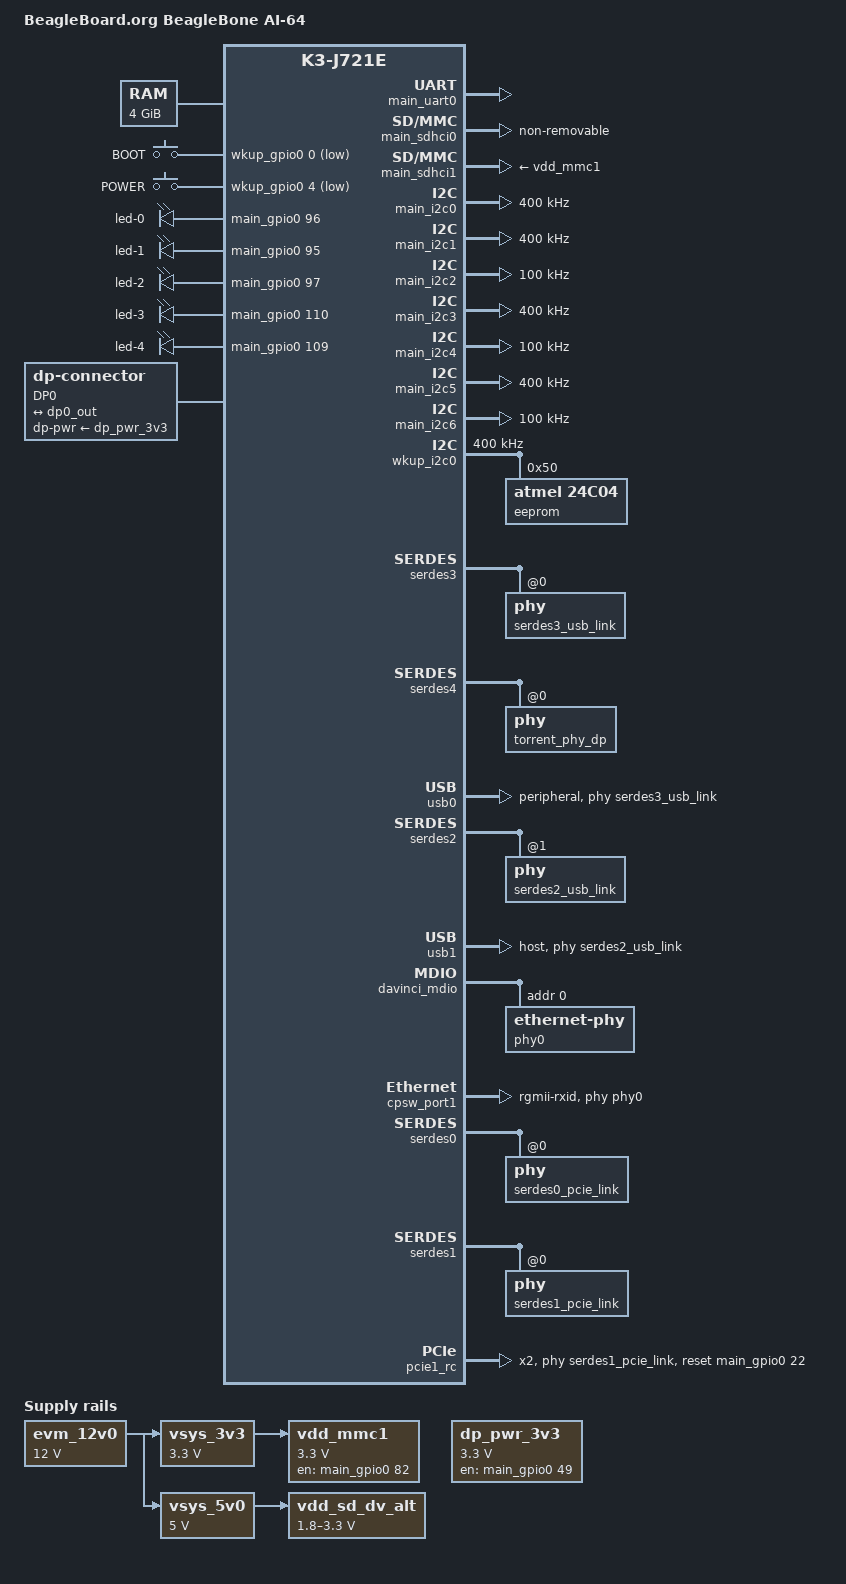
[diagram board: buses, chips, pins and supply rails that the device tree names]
// SPDX-License-Identifier: GPL-2.0
/*
 * https://beagleboard.org/ai-64
 * Copyright (C) 2022 Texas Instruments Incorporated - https://www.ti.com/
 * Copyright (C) 2022 Jason Kridner, BeagleBoard.org Foundation
 * Copyright (C) 2022 Robert Nelson, BeagleBoard.org Foundation
 */

/dts-v1/;

#include "k3-j721e.dtsi"
#include <dt-bindings/gpio/gpio.h>
#include <dt-bindings/input/input.h>
#include <dt-bindings/leds/common.h>
#include <dt-bindings/net/ti-dp83867.h>
#include <dt-bindings/phy/phy-cadence.h>

/ {
	compatible = "beagle,j721e-beagleboneai64", "ti,j721e";
	model = "BeagleBoard.org BeagleBone AI-64";

	aliases {
		serial0 = &wkup_uart0;
		serial2 = &main_uart0;
		mmc0 = &main_sdhci0;
		mmc1 = &main_sdhci1;
		i2c0 = &wkup_i2c0;
		i2c1 = &main_i2c6;
		i2c2 = &main_i2c2;
		i2c3 = &main_i2c4;
	};

	chosen {
		stdout-path = "serial2:115200n8";
	};

	memory@80000000 {
		device_type = "memory";
		/* 4G RAM */
		reg = <0x00000000 0x80000000 0x00000000 0x80000000>,
		      <0x00000008 0x80000000 0x00000000 0x80000000>;
	};

	reserved_memory: reserved-memory {
		#address-cells = <2>;
		#size-cells = <2>;
		ranges;

		secure_ddr: optee@9e800000 {
			reg = <0x00 0x9e800000 0x00 0x01800000>;
			no-map;
		};

		mcu_r5fss0_core0_dma_memory_region: r5f-dma-memory@a0000000 {
			compatible = "shared-dma-pool";
			reg = <0x00 0xa0000000 0x00 0x100000>;
			no-map;
		};

		mcu_r5fss0_core0_memory_region: r5f-memory@a0100000 {
			compatible = "shared-dma-pool";
			reg = <0x00 0xa0100000 0x00 0xf00000>;
			no-map;
		};

		mcu_r5fss0_core1_dma_memory_region: r5f-dma-memory@a1000000 {
			compatible = "shared-dma-pool";
			reg = <0x00 0xa1000000 0x00 0x100000>;
			no-map;
		};

		mcu_r5fss0_core1_memory_region: r5f-memory@a1100000 {
			compatible = "shared-dma-pool";
			reg = <0x00 0xa1100000 0x00 0xf00000>;
			no-map;
		};

		main_r5fss0_core0_dma_memory_region: r5f-dma-memory@a2000000 {
			compatible = "shared-dma-pool";
			reg = <0x00 0xa2000000 0x00 0x100000>;
			no-map;
		};

		main_r5fss0_core0_memory_region: r5f-memory@a2100000 {
			compatible = "shared-dma-pool";
			reg = <0x00 0xa2100000 0x00 0xf00000>;
			no-map;
		};

		main_r5fss0_core1_dma_memory_region: r5f-dma-memory@a3000000 {
			compatible = "shared-dma-pool";
			reg = <0x00 0xa3000000 0x00 0x100000>;
			no-map;
		};

		main_r5fss0_core1_memory_region: r5f-memory@a3100000 {
			compatible = "shared-dma-pool";
			reg = <0x00 0xa3100000 0x00 0xf00000>;
			no-map;
		};

		main_r5fss1_core0_dma_memory_region: r5f-dma-memory@a4000000 {
			compatible = "shared-dma-pool";
			reg = <0x00 0xa4000000 0x00 0x100000>;
			no-map;
		};

		main_r5fss1_core0_memory_region: r5f-memory@a4100000 {
			compatible = "shared-dma-pool";
			reg = <0x00 0xa4100000 0x00 0xf00000>;
			no-map;
		};

		main_r5fss1_core1_dma_memory_region: r5f-dma-memory@a5000000 {
			compatible = "shared-dma-pool";
			reg = <0x00 0xa5000000 0x00 0x100000>;
			no-map;
		};

		main_r5fss1_core1_memory_region: r5f-memory@a5100000 {
			compatible = "shared-dma-pool";
			reg = <0x00 0xa5100000 0x00 0xf00000>;
			no-map;
		};

		c66_1_dma_memory_region: c66-dma-memory@a6000000 {
			compatible = "shared-dma-pool";
			reg = <0x00 0xa6000000 0x00 0x100000>;
			no-map;
		};

		c66_0_memory_region: c66-memory@a6100000 {
			compatible = "shared-dma-pool";
			reg = <0x00 0xa6100000 0x00 0xf00000>;
			no-map;
		};

		c66_0_dma_memory_region: c66-dma-memory@a7000000 {
			compatible = "shared-dma-pool";
			reg = <0x00 0xa7000000 0x00 0x100000>;
			no-map;
		};

		c66_1_memory_region: c66-memory@a7100000 {
			compatible = "shared-dma-pool";
			reg = <0x00 0xa7100000 0x00 0xf00000>;
			no-map;
		};

		c71_0_dma_memory_region: c71-dma-memory@a8000000 {
			compatible = "shared-dma-pool";
			reg = <0x00 0xa8000000 0x00 0x100000>;
			no-map;
		};

		c71_0_memory_region: c71-memory@a8100000 {
			compatible = "shared-dma-pool";
			reg = <0x00 0xa8100000 0x00 0xf00000>;
			no-map;
		};

		rtos_ipc_memory_region: ipc-memories@aa000000 {
			reg = <0x00 0xaa000000 0x00 0x01c00000>;
			alignment = <0x1000>;
			no-map;
		};
	};

	gpio_keys: gpio-keys {
		compatible = "gpio-keys";
		pinctrl-names = "default";
		pinctrl-0 = <&sw_pwr_pins_default>;

		button-1 {
			label = "BOOT";
			linux,code = <BTN_0>;
			gpios = <&wkup_gpio0 0 GPIO_ACTIVE_LOW>;
		};

		button-2 {
			label = "POWER";
			linux,code = <KEY_POWER>;
			gpios = <&wkup_gpio0 4 GPIO_ACTIVE_LOW>;
		};
	};

	leds {
		compatible = "gpio-leds";
		pinctrl-names = "default";
		pinctrl-0 = <&led_pins_default>;

		led-0 {
			gpios = <&main_gpio0 96 GPIO_ACTIVE_HIGH>;
			function = LED_FUNCTION_HEARTBEAT;
			linux,default-trigger = "heartbeat";
		};

		led-1 {
			gpios = <&main_gpio0 95 GPIO_ACTIVE_HIGH>;
			function = LED_FUNCTION_DISK_ACTIVITY;
			linux,default-trigger = "mmc0";
		};

		led-2 {
			gpios = <&main_gpio0 97 GPIO_ACTIVE_HIGH>;
			function = LED_FUNCTION_CPU;
			linux,default-trigger = "cpu";
		};

		led-3 {
			gpios = <&main_gpio0 110 GPIO_ACTIVE_HIGH>;
			function = LED_FUNCTION_DISK_ACTIVITY;
			linux,default-trigger = "mmc1";
		};

		led-4 {
			gpios = <&main_gpio0 109 GPIO_ACTIVE_HIGH>;
			function = LED_FUNCTION_WLAN;
			default-state = "off";
		};
	};

	evm_12v0: regulator-0 {
		/* main supply */
		compatible = "regulator-fixed";
		regulator-name = "evm_12v0";
		regulator-min-microvolt = <12000000>;
		regulator-max-microvolt = <12000000>;
		regulator-always-on;
		regulator-boot-on;
	};

	vsys_3v3: regulator-1 {
		/* Output of LMS140 */
		compatible = "regulator-fixed";
		regulator-name = "vsys_3v3";
		regulator-min-microvolt = <3300000>;
		regulator-max-microvolt = <3300000>;
		vin-supply = <&evm_12v0>;
		regulator-always-on;
		regulator-boot-on;
	};

	vsys_5v0: regulator-2 {
		/* Output of LM5140 */
		compatible = "regulator-fixed";
		regulator-name = "vsys_5v0";
		regulator-min-microvolt = <5000000>;
		regulator-max-microvolt = <5000000>;
		vin-supply = <&evm_12v0>;
		regulator-always-on;
		regulator-boot-on;
	};

	vdd_mmc1: regulator-3 {
		compatible = "regulator-fixed";
		pinctrl-names = "default";
		pinctrl-0 = <&sd_pwr_en_pins_default>;
		regulator-name = "vdd_mmc1";
		regulator-min-microvolt = <3300000>;
		regulator-max-microvolt = <3300000>;
		regulator-boot-on;
		enable-active-high;
		vin-supply = <&vsys_3v3>;
		gpio = <&main_gpio0 82 GPIO_ACTIVE_HIGH>;
	};

	vdd_sd_dv_alt: regulator-4 {
		compatible = "regulator-gpio";
		pinctrl-names = "default";
		pinctrl-0 = <&vdd_sd_dv_alt_pins_default>;
		regulator-name = "tlv71033";
		regulator-min-microvolt = <1800000>;
		regulator-max-microvolt = <3300000>;
		regulator-boot-on;
		vin-supply = <&vsys_5v0>;
		gpios = <&main_gpio0 117 GPIO_ACTIVE_HIGH>;
		states = <1800000 0x0>,
			 <3300000 0x1>;
	};

	dp_pwr_3v3: regulator-5 {
		compatible = "regulator-fixed";
		pinctrl-names = "default";
		pinctrl-0 = <&dp0_3v3_en_pins_default>;
		regulator-name = "dp-pwr";
		regulator-min-microvolt = <3300000>;
		regulator-max-microvolt = <3300000>;
		gpio = <&main_gpio0 49 GPIO_ACTIVE_HIGH>; /* DP0_PWR_SW_EN */
		enable-active-high;
	};

	dp0: connector {
		compatible = "dp-connector";
		label = "DP0";
		type = "full-size";
		dp-pwr-supply = <&dp_pwr_3v3>;

		port {
			dp_connector_in: endpoint {
				remote-endpoint = <&dp0_out>;
			};
		};
	};
};

&main_pmx0 {
	led_pins_default: led-default-pins {
		pinctrl-single,pins = <
			J721E_IOPAD(0x184, PIN_INPUT, 7) /* (T23) RGMII5_RD0.GPIO0_96 */
			J721E_IOPAD(0x180, PIN_INPUT, 7) /* (R23) RGMII5_RD1.GPIO0_95 */
			J721E_IOPAD(0x188, PIN_INPUT, 7) /* (Y28) RGMII6_TX_CTL.GPIO0_97 */
			J721E_IOPAD(0x1bc, PIN_INPUT, 7) /* (V24) MDIO0_MDC.GPIO0_110 */
			J721E_IOPAD(0x1b8, PIN_INPUT, 7) /* (V26) MDIO0_MDIO.GPIO0_109 */
		>;
	};

	main_mmc1_pins_default: main-mmc1-default-pins {
		pinctrl-single,pins = <
			J721E_IOPAD(0x254, PIN_INPUT, 0) /* (R29) MMC1_CMD */
			J721E_IOPAD(0x250, PIN_INPUT, 0) /* (P25) MMC1_CLK */
			J721E_IOPAD(0x2ac, PIN_INPUT, 0) /* (P25) MMC1_CLKLB */
			J721E_IOPAD(0x24c, PIN_INPUT, 0) /* (R24) MMC1_DAT0 */
			J721E_IOPAD(0x248, PIN_INPUT, 0) /* (P24) MMC1_DAT1 */
			J721E_IOPAD(0x244, PIN_INPUT, 0) /* (R25) MMC1_DAT2 */
			J721E_IOPAD(0x240, PIN_INPUT, 0) /* (R26) MMC1_DAT3 */
			J721E_IOPAD(0x258, PIN_INPUT, 0) /* (P23) MMC1_SDCD */
		>;
	};

	main_uart0_pins_default: main-uart0-default-pins {
		pinctrl-single,pins = <
			J721E_IOPAD(0x1e8, PIN_INPUT, 0) /* (AB2) UART0_RXD */
			J721E_IOPAD(0x1ec, PIN_OUTPUT, 0) /* (AB3) UART0_TXD */
		>;
	};

	sd_pwr_en_pins_default: sd-pwr-en-default-pins {
		pinctrl-single,pins = <
			J721E_IOPAD(0x14c, PIN_INPUT, 7) /* (AA29) PRG0_PRU1_GPO19.GPIO0_82 */
		>;
	};

	vdd_sd_dv_alt_pins_default: vdd-sd-dv-alt-default-pins {
		pinctrl-single,pins = <
			J721E_IOPAD(0x1d8, PIN_INPUT, 7) /* (W4) SPI1_CS1.GPIO0_117 */
		>;
	};

	main_usbss0_pins_default: main-usbss0-default-pins {
		pinctrl-single,pins = <
			J721E_IOPAD(0x210, PIN_INPUT, 7) /* (W3) MCAN1_RX.GPIO1_3 - USBC_DIR */
		>;
	};

	main_usbss1_pins_default: main-usbss1-default-pins {
		pinctrl-single,pins = <
			J721E_IOPAD(0x290, INPUT_DISABLE, 1) /* (U6) USB0_DRVVBUS.USB1_DRVVBUS */
		>;
	};

	dp0_3v3_en_pins_default:dp0-3v3-en-default-pins {
		pinctrl-single,pins = <
			J721E_IOPAD(0xc8, PIN_INPUT, 7) /* (AE26) PRG0_PRU0_GPO6.GPIO0_49 */
		>;
	};

	dp0_pins_default: dp0-default-pins {
		pinctrl-single,pins = <
			J721E_IOPAD(0x1c4, PIN_INPUT, 5) /* (Y4) SPI0_CS1.DP0_HPD */
		>;
	};

	main_i2c0_pins_default: main-i2c0-default-pins {
		pinctrl-single,pins = <
			J721E_IOPAD(0x220, PIN_INPUT_PULLUP, 0) /* (AC5) I2C0_SCL */
			J721E_IOPAD(0x224, PIN_INPUT_PULLUP, 0) /* (AA5) I2C0_SDA */
		>;
	};

	main_i2c1_pins_default: main-i2c1-default-pins {
		pinctrl-single,pins = <
			J721E_IOPAD(0x228, PIN_INPUT_PULLUP, 0) /* (Y6) I2C1_SCL */
			J721E_IOPAD(0x22c, PIN_INPUT_PULLUP, 0) /* (AA6) I2C1_SDA */
		>;
	};

	main_i2c2_pins_default: main-i2c2-default-pins {
		pinctrl-single,pins = <
			J721E_IOPAD(0x208, PIN_INPUT_PULLUP, 4) /* (W5) MCAN0_RX.I2C2_SCL */
			J721E_IOPAD(0x20c, PIN_INPUT_PULLUP, 4) /* (W6) MCAN0_TX.I2C2_SDA */
			J721E_IOPAD(0x138, PIN_INPUT, 7) /* (AE25) PRG0_PRU1_GPO14.GPIO0_77 */
			J721E_IOPAD(0x13c, PIN_INPUT, 7) /* (AF29) PRG0_PRU1_GPO15.GPIO0_78 */
		>;
	};

	main_i2c3_pins_default: main-i2c3-default-pins {
		pinctrl-single,pins = <
			J721E_IOPAD(0x270, PIN_INPUT_PULLUP, 4) /* (T26) MMC2_CLK.I2C3_SCL */
			J721E_IOPAD(0x274, PIN_INPUT_PULLUP, 4) /* (T25) MMC2_CMD.I2C3_SDA */
		>;
	};

	main_i2c4_pins_default: main-i2c4-default-pins {
		pinctrl-single,pins = <
			J721E_IOPAD(0x1e0, PIN_INPUT_PULLUP, 2) /* (Y5) SPI1_D0.I2C4_SCL */
			J721E_IOPAD(0x1dc, PIN_INPUT_PULLUP, 2) /* (Y1) SPI1_CLK.I2C4_SDA */
			J721E_IOPAD(0x30, PIN_INPUT, 7) /* (AF24) PRG1_PRU0_GPO11.GPIO0_12 */
			J721E_IOPAD(0x34, PIN_INPUT, 7) /* (AJ24) PRG1_PRU0_GPO12.GPIO0_13 */
		>;
	};

	main_i2c5_pins_default: main-i2c5-default-pins {
		pinctrl-single,pins = <
			J721E_IOPAD(0x150, PIN_INPUT_PULLUP, 2) /* (Y26) PRG0_MDIO0_MDIO.I2C5_SCL */
			J721E_IOPAD(0x154, PIN_INPUT_PULLUP, 2) /* (AA27) PRG0_MDIO0_MDC.I2C5_SDA */
		>;
	};

	main_i2c6_pins_default: main-i2c6-default-pins {
		pinctrl-single,pins = <
			J721E_IOPAD(0x1d0, PIN_INPUT_PULLUP, 2) /* (AA3) SPI0_D1.I2C6_SCL */
			J721E_IOPAD(0x1e4, PIN_INPUT_PULLUP, 2) /* (Y2) SPI1_D1.I2C6_SDA */
			J721E_IOPAD(0x74, PIN_INPUT, 7) /* (AC21) PRG1_PRU1_GPO7.GPIO0_28 */
			J721E_IOPAD(0xa4, PIN_INPUT, 7) /* (AH22) PRG1_PRU1_GPO19.GPIO0_40 */
		>;
	};

	csi0_gpio_pins_default: csi0-gpio-default-pins {
		pinctrl-single,pins = <
			J721E_IOPAD(0x19c, PIN_INPUT_PULLDOWN, 7) /* (W27) RGMII6_TD0.GPIO0_102 */
			J721E_IOPAD(0x1a0, PIN_INPUT_PULLDOWN, 7) /* (W29) RGMII6_TXC.GPIO0_103 */
		>;
	};

	csi1_gpio_pins_default: csi1-gpio-default-pins {
		pinctrl-single,pins = <
			J721E_IOPAD(0x198, PIN_INPUT_PULLDOWN, 7) /* (V25) RGMII6_TD1.GPIO0_101 */
			J721E_IOPAD(0x1b0, PIN_INPUT_PULLDOWN, 7) /* (W24) RGMII6_RD1.GPIO0_107 */
		>;
	};

	pcie1_rst_pins_default: pcie1-rst-default-pins {
		pinctrl-single,pins = <
			J721E_IOPAD(0x5c, PIN_INPUT, 7) /* (AG23) PRG1_PRU1_GPO1.GPIO0_22 */
		>;
	};
};

&wkup_pmx0 {
	eeprom_wp_pins_default: eeprom-wp-default-pins {
		pinctrl-single,pins = <
			J721E_WKUP_IOPAD(0xc4, PIN_OUTPUT_PULLUP, 7) /* (G24) WKUP_GPIO0_5 */
		>;
	};

	mcu_adc0_pins_default: mcu-adc0-default-pins {
		pinctrl-single,pins = <
			J721E_WKUP_IOPAD(0x130, PIN_INPUT, 0) /* (K25) MCU_ADC0_AIN0 */
			J721E_WKUP_IOPAD(0x134, PIN_INPUT, 0) /* (K26) MCU_ADC0_AIN1 */
			J721E_WKUP_IOPAD(0x138, PIN_INPUT, 0) /* (K28) MCU_ADC0_AIN2 */
			J721E_WKUP_IOPAD(0x13c, PIN_INPUT, 0) /* (L28) MCU_ADC0_AIN3 */
			J721E_WKUP_IOPAD(0x140, PIN_INPUT, 0) /* (K24) MCU_ADC0_AIN4 */
			J721E_WKUP_IOPAD(0x144, PIN_INPUT, 0) /* (K27) MCU_ADC0_AIN5 */
			J721E_WKUP_IOPAD(0x148, PIN_INPUT, 0) /* (K29) MCU_ADC0_AIN6 */
		>;
	};

	mcu_adc1_pins_default: mcu-adc1-default-pins {
		pinctrl-single,pins = <
			J721E_WKUP_IOPAD(0x150, PIN_INPUT, 0) /* (N23) MCU_ADC1_AIN0 */
		>;
	};

	mikro_bus_pins_default: mikro-bus-default-pins {
		pinctrl-single,pins = <
			J721E_WKUP_IOPAD(0x108, PIN_INPUT, 7) /* SDAPULLEN (E26) PMIC_POWER_EN0.WKUP_GPIO0_66 */
			J721E_WKUP_IOPAD(0xd4, PIN_INPUT, 7) /* SDA (G26) WKUP_GPIO0_9.MCU_I2C1_SDA */
			J721E_WKUP_IOPAD(0xf4, PIN_INPUT, 7) /* SDA (D25) MCU_I3C0_SDA.WKUP_GPIO0_61 */
			J721E_WKUP_IOPAD(0xd0, PIN_INPUT, 7) /* SCL (G27) WKUP_GPIO0_8.MCU_I2C1_SCL */
			J721E_WKUP_IOPAD(0xf0, PIN_INPUT, 7) /* SCL (D26) MCU_I3C0_SCL.WKUP_GPIO0_60 */

			J721E_WKUP_IOPAD(0xb8, PIN_INPUT, 7) /* MOSI (F28) WKUP_GPIO0_2.MCU_SPI1_D1 */
			J721E_WKUP_IOPAD(0xb4, PIN_INPUT, 7) /* MISO (F25) WKUP_GPIO0_1.MCU_SPI1_D0 */
			J721E_WKUP_IOPAD(0xb0, PIN_INPUT, 7) /* CLK (F26) WKUP_GPIO0_0.MCU_SPI1_CLK */
			J721E_WKUP_IOPAD(0xbc, PIN_INPUT, 7) /* CS (F27) WKUP_GPIO0_3.MCU_SPI1_CS0 */

			J721E_WKUP_IOPAD(0x44, PIN_INPUT, 7) /* RX (G22) MCU_OSPI1_D1.WKUP_GPIO0_33 */
			J721E_WKUP_IOPAD(0x48, PIN_INPUT, 7) /* TX (D23) MCU_OSPI1_D2.WKUP_GPIO0_34 */

			J721E_WKUP_IOPAD(0x4c, PIN_INPUT, 7) /* INT (C23) MCU_OSPI1_D3.WKUP_GPIO0_35 */
			J721E_WKUP_IOPAD(0x54, PIN_INPUT, 7) /* RST (E22) MCU_OSPI1_CSn1.WKUP_GPIO0_37 */
			J721E_WKUP_IOPAD(0xdc, PIN_INPUT, 7) /* PWM (H27) WKUP_GPIO0_11 */
			J721E_WKUP_IOPAD(0xac, PIN_INPUT, 7) /* AN (C29) MCU_MCAN0_RX.WKUP_GPIO0_59 */
		>;
	};

	mcu_cpsw_pins_default: mcu-cpsw-default-pins {
		pinctrl-single,pins = <
			J721E_WKUP_IOPAD(0x84, PIN_INPUT, 0) /* (B24) MCU_RGMII1_RD0 */
			J721E_WKUP_IOPAD(0x80, PIN_INPUT, 0) /* (A24) MCU_RGMII1_RD1 */
			J721E_WKUP_IOPAD(0x7c, PIN_INPUT, 0) /* (D24) MCU_RGMII1_RD2 */
			J721E_WKUP_IOPAD(0x78, PIN_INPUT, 0) /* (A25) MCU_RGMII1_RD3 */
			J721E_WKUP_IOPAD(0x74, PIN_INPUT, 0) /* (C24) MCU_RGMII1_RXC */
			J721E_WKUP_IOPAD(0x5c, PIN_INPUT, 0) /* (C25) MCU_RGMII1_RX_CTL */
			J721E_WKUP_IOPAD(0x6c, PIN_OUTPUT, 0) /* (B25) MCU_RGMII1_TD0 */
			J721E_WKUP_IOPAD(0x68, PIN_OUTPUT, 0) /* (A26) MCU_RGMII1_TD1 */
			J721E_WKUP_IOPAD(0x64, PIN_OUTPUT, 0) /* (A27) MCU_RGMII1_TD2 */
			J721E_WKUP_IOPAD(0x60, PIN_OUTPUT, 0) /* (A28) MCU_RGMII1_TD3 */
			J721E_WKUP_IOPAD(0x70, PIN_OUTPUT, 0) /* (B26) MCU_RGMII1_TXC */
			J721E_WKUP_IOPAD(0x58, PIN_OUTPUT, 0) /* (B27) MCU_RGMII1_TX_CTL */
		>;
	};

	mcu_mdio_pins_default: mcu-mdio1-default-pins {
		pinctrl-single,pins = <
			J721E_WKUP_IOPAD(0x8c, PIN_OUTPUT, 0) /* (F23) MCU_MDIO0_MDC */
			J721E_WKUP_IOPAD(0x88, PIN_INPUT, 0) /* (E23) MCU_MDIO0_MDIO */
		>;
	};

	sw_pwr_pins_default: sw-pwr-default-pins {
		pinctrl-single,pins = <
			J721E_WKUP_IOPAD(0xc0, PIN_INPUT, 7) /* (G25) WKUP_GPIO0_4 */
		>;
	};

	wkup_i2c0_pins_default: wkup-i2c0-default-pins {
		pinctrl-single,pins = <
			J721E_WKUP_IOPAD(0xf8, PIN_INPUT_PULLUP, 0) /* (J25) WKUP_I2C0_SCL */
			J721E_WKUP_IOPAD(0xfc, PIN_INPUT_PULLUP, 0) /* (H24) WKUP_I2C0_SDA */
		>;
	};

	wkup_uart0_pins_default: wkup-uart0-default-pins {
		pinctrl-single,pins = <
			J721E_WKUP_IOPAD(0xa0, PIN_INPUT, 0) /* (J29) WKUP_UART0_RXD */
			J721E_WKUP_IOPAD(0xa4, PIN_OUTPUT, 0) /* (J28) WKUP_UART0_TXD */
		>;
	};

	mcu_usbss1_pins_default: mcu-usbss1-default-pins {
		pinctrl-single,pins = <
			J721E_WKUP_IOPAD(0x3c, PIN_OUTPUT_PULLUP, 5) /* (A23) MCU_OSPI1_LBCLKO.WKUP_GPIO0_30 */
		>;
	};
};

&wkup_uart0 {
	/* Wakeup UART is used by TIFS firmware. */
	status = "reserved";
	pinctrl-names = "default";
	pinctrl-0 = <&wkup_uart0_pins_default>;
};

&main_uart0 {
	status = "okay";
	pinctrl-names = "default";
	pinctrl-0 = <&main_uart0_pins_default>;
	/* Shared with ATF on this platform */
	power-domains = <&k3_pds 146 TI_SCI_PD_SHARED>;
};

&main_sdhci0 {
	/* eMMC */
	non-removable;
	ti,driver-strength-ohm = <50>;
	disable-wp;
};

&main_sdhci1 {
	/* SD Card */
	vmmc-supply = <&vdd_mmc1>;
	vqmmc-supply = <&vdd_sd_dv_alt>;
	pinctrl-names = "default";
	pinctrl-0 = <&main_mmc1_pins_default>;
	ti,driver-strength-ohm = <50>;
	disable-wp;
};

&main_sdhci2 {
	/* Unused */
	status = "disabled";
};

&ospi0 {
	/* Unused */
	status = "disabled";
};

&ospi1 {
	/* Unused */
	status = "disabled";
};

&main_i2c0 {
	status = "okay";
	pinctrl-names = "default";
	pinctrl-0 = <&main_i2c0_pins_default>;
	clock-frequency = <400000>;
};

&main_i2c1 {
	status = "okay";
	pinctrl-names = "default";
	pinctrl-0 = <&main_i2c1_pins_default>;
	clock-frequency = <400000>;
};

&main_i2c2 {
	/* BBB Header: P9.19 and P9.20 */
	status = "okay";
	pinctrl-names = "default";
	pinctrl-0 = <&main_i2c2_pins_default>;
	clock-frequency = <100000>;
};

&main_i2c3 {
	status = "okay";
	pinctrl-names = "default";
	pinctrl-0 = <&main_i2c3_pins_default>;
	clock-frequency = <400000>;
};

&main_i2c4 {
	/* BBB Header: P9.24 and P9.26 */
	status = "okay";
	pinctrl-names = "default";
	pinctrl-0 = <&main_i2c4_pins_default>;
	clock-frequency = <100000>;
};

&main_i2c5 {
	status = "okay";
	pinctrl-names = "default";
	pinctrl-0 = <&main_i2c5_pins_default>;
	clock-frequency = <400000>;
};

&main_i2c6 {
	/* BBB Header: P9.17 and P9.18 */
	status = "okay";
	pinctrl-names = "default";
	pinctrl-0 = <&main_i2c6_pins_default>;
	clock-frequency = <100000>;
	status = "okay";
};

&wkup_i2c0 {
	status = "okay";
	pinctrl-names = "default";
	pinctrl-0 = <&wkup_i2c0_pins_default>;
	clock-frequency = <400000>;

	eeprom@50 {
		compatible = "atmel,24c04";
		reg = <0x50>;
		pinctrl-names = "default";
		pinctrl-0 = <&eeprom_wp_pins_default>;
	};
};

&main_gpio2 {
	/* Unused */
	status = "disabled";
};

&main_gpio3 {
	/* Unused */
	status = "disabled";
};

&main_gpio4 {
	/* Unused */
	status = "disabled";
};

&main_gpio5 {
	/* Unused */
	status = "disabled";
};

&main_gpio6 {
	/* Unused */
	status = "disabled";
};

&main_gpio7 {
	/* Unused */
	status = "disabled";
};

&wkup_gpio0 {
	pinctrl-names = "default";
	pinctrl-0 = <&mcu_adc0_pins_default>, <&mcu_adc1_pins_default>,
		    <&mikro_bus_pins_default>;
};

&wkup_gpio1 {
	/* Unused */
	status = "disabled";
};

&main_gpio0 {
	pinctrl-names = "default";
	pinctrl-0 = <&csi1_gpio_pins_default>, <&csi0_gpio_pins_default>;
};

&usb_serdes_mux {
	idle-states = <1>, <1>; /* USB0 to SERDES3, USB1 to SERDES2 */
};

&serdes_ln_ctrl {
	idle-states = <J721E_SERDES0_LANE0_IP4_UNUSED>, <J721E_SERDES0_LANE1_IP4_UNUSED>,
		      <J721E_SERDES1_LANE0_PCIE1_LANE0>, <J721E_SERDES1_LANE1_PCIE1_LANE1>,
		      <J721E_SERDES2_LANE0_IP1_UNUSED>, <J721E_SERDES2_LANE1_USB3_1>,
		      <J721E_SERDES3_LANE0_USB3_0_SWAP>, <J721E_SERDES3_LANE1_USB3_0>,
		      <J721E_SERDES4_LANE0_EDP_LANE0>, <J721E_SERDES4_LANE1_EDP_LANE1>,
		      <J721E_SERDES4_LANE2_EDP_LANE2>, <J721E_SERDES4_LANE3_EDP_LANE3>;
};

&serdes_wiz3 {
	typec-dir-gpios = <&main_gpio1 3 GPIO_ACTIVE_LOW>;
	typec-dir-debounce-ms = <700>;	/* TUSB321, tCCB_DEFAULT 133 ms */
};

&serdes3 {
	serdes3_usb_link: phy@0 {
		reg = <0>;
		cdns,num-lanes = <2>;
		#phy-cells = <0>;
		cdns,phy-type = <PHY_TYPE_USB3>;
		resets = <&serdes_wiz3 1>, <&serdes_wiz3 2>;
	};
};

&serdes4 {
	torrent_phy_dp: phy@0 {
		reg = <0>;
		resets = <&serdes_wiz4 1>;
		cdns,phy-type = <PHY_TYPE_DP>;
		cdns,num-lanes = <4>;
		cdns,max-bit-rate = <5400>;
		#phy-cells = <0>;
	};
};

&mhdp {
	phys = <&torrent_phy_dp>;
	phy-names = "dpphy";
	pinctrl-names = "default";
	pinctrl-0 = <&dp0_pins_default>;
};

&usbss0 {
	pinctrl-names = "default";
	pinctrl-0 = <&main_usbss0_pins_default>;
	ti,vbus-divider;
};

&usb0 {
	dr_mode = "peripheral";
	maximum-speed = "super-speed";
	phys = <&serdes3_usb_link>;
	phy-names = "cdns3,usb3-phy";
};

&serdes2 {
	serdes2_usb_link: phy@1 {
		reg = <1>;
		cdns,num-lanes = <1>;
		#phy-cells = <0>;
		cdns,phy-type = <PHY_TYPE_USB3>;
		resets = <&serdes_wiz2 2>;
	};
};

&usbss1 {
	pinctrl-names = "default";
	pinctrl-0 = <&main_usbss1_pins_default>, <&mcu_usbss1_pins_default>;
	ti,vbus-divider;
};

&usb1 {
	dr_mode = "host";
	maximum-speed = "super-speed";
	phys = <&serdes2_usb_link>;
	phy-names = "cdns3,usb3-phy";
};

&tscadc0 {
	/* BBB Header: P9.39, P9.40, P9.37, P9.38, P9.33, P9.36, P9.35 */
	adc {
		ti,adc-channels = <0 1 2 3 4 5 6>;
	};
};

&tscadc1 {
	/* MCU mikroBUS Header J10.1 - MCU_ADC1_AIN0 */
	adc {
		ti,adc-channels = <0>;
	};
};

&mcu_cpsw {
	pinctrl-names = "default";
	pinctrl-0 = <&mcu_cpsw_pins_default>;
};

&davinci_mdio {
	pinctrl-names = "default";
	pinctrl-0 = <&mcu_mdio_pins_default>;

	phy0: ethernet-phy@0 {
		reg = <0>;
		ti,rx-internal-delay = <DP83867_RGMIIDCTL_2_00_NS>;
		ti,fifo-depth = <DP83867_PHYCR_FIFO_DEPTH_4_B_NIB>;
	};
};

&cpsw_port1 {
	phy-mode = "rgmii-rxid";
	phy-handle = <&phy0>;
};

&dss {
	/*
	 * These clock assignments are chosen to enable the following outputs:
	 *
	 * VP0 - DisplayPort SST
	 * VP1 - DPI0
	 * VP2 - DSI
	 * VP3 - DPI1
	 */

	assigned-clocks = <&k3_clks 152 1>,	/* VP 1 pixel clock */
			  <&k3_clks 152 4>,	/* VP 2 pixel clock */
			  <&k3_clks 152 9>,	/* VP 3 pixel clock */
			  <&k3_clks 152 13>;	/* VP 4 pixel clock */
	assigned-clock-parents = <&k3_clks 152 2>,	/* PLL16_HSDIV0 */
				 <&k3_clks 152 6>,	/* PLL19_HSDIV0 */
				 <&k3_clks 152 11>,	/* PLL18_HSDIV0 */
				 <&k3_clks 152 18>;	/* PLL23_HSDIV0 */
};

&dss_ports {
	port {
		dpi0_out: endpoint {
			remote-endpoint = <&dp0_in>;
		};
	};
};

&dp0_ports {
	#address-cells = <1>;
	#size-cells = <0>;

	port@0 {
		reg = <0>;
		dp0_in: endpoint {
			remote-endpoint = <&dpi0_out>;
		};
	};

	port@4 {
		reg = <4>;
		dp0_out: endpoint {
			remote-endpoint = <&dp_connector_in>;
		};
	};
};

&serdes0 {
	serdes0_pcie_link: phy@0 {
		reg = <0>;
		cdns,num-lanes = <1>;
		#phy-cells = <0>;
		cdns,phy-type = <PHY_TYPE_PCIE>;
		resets = <&serdes_wiz0 1>;
	};
};

&serdes1 {
	serdes1_pcie_link: phy@0 {
		reg = <0>;
		cdns,num-lanes = <2>;
		#phy-cells = <0>;
		cdns,phy-type = <PHY_TYPE_PCIE>;
		resets = <&serdes_wiz1 1>, <&serdes_wiz1 2>;
	};
};

&pcie1_rc {
	status = "okay";
	pinctrl-names = "default";
	pinctrl-0 = <&pcie1_rst_pins_default>;
	phys = <&serdes1_pcie_link>;
	phy-names = "pcie-phy";
	num-lanes = <2>;
	max-link-speed = <3>;
	reset-gpios = <&main_gpio0 22 GPIO_ACTIVE_HIGH>;
};

&ufs_wrapper {
	status = "disabled";
};

&mailbox0_cluster0 {
	status = "okay";
	interrupts = <436>;

	mbox_mcu_r5fss0_core0: mbox-mcu-r5fss0-core0 {
		ti,mbox-rx = <0 0 0>;
		ti,mbox-tx = <1 0 0>;
	};

	mbox_mcu_r5fss0_core1: mbox-mcu-r5fss0-core1 {
		ti,mbox-rx = <2 0 0>;
		ti,mbox-tx = <3 0 0>;
	};
};

&mailbox0_cluster1 {
	status = "okay";
	interrupts = <432>;

	mbox_main_r5fss0_core0: mbox-main-r5fss0-core0 {
		ti,mbox-rx = <0 0 0>;
		ti,mbox-tx = <1 0 0>;
	};

	mbox_main_r5fss0_core1: mbox-main-r5fss0-core1 {
		ti,mbox-rx = <2 0 0>;
		ti,mbox-tx = <3 0 0>;
	};
};

&mailbox0_cluster2 {
	status = "okay";
	interrupts = <428>;

	mbox_main_r5fss1_core0: mbox-main-r5fss1-core0 {
		ti,mbox-rx = <0 0 0>;
		ti,mbox-tx = <1 0 0>;
	};

	mbox_main_r5fss1_core1: mbox-main-r5fss1-core1 {
		ti,mbox-rx = <2 0 0>;
		ti,mbox-tx = <3 0 0>;
	};
};

&mailbox0_cluster3 {
	status = "okay";
	interrupts = <424>;

	mbox_c66_0: mbox-c66-0 {
		ti,mbox-rx = <0 0 0>;
		ti,mbox-tx = <1 0 0>;
	};

	mbox_c66_1: mbox-c66-1 {
		ti,mbox-rx = <2 0 0>;
		ti,mbox-tx = <3 0 0>;
	};
};

&mailbox0_cluster4 {
	status = "okay";
	interrupts = <420>;

	mbox_c71_0: mbox-c71-0 {
		ti,mbox-rx = <0 0 0>;
		ti,mbox-tx = <1 0 0>;
	};
};

&mcu_r5fss0_core0 {
	mboxes = <&mailbox0_cluster0>, <&mbox_mcu_r5fss0_core0>;
	memory-region = <&mcu_r5fss0_core0_dma_memory_region>,
			<&mcu_r5fss0_core0_memory_region>;
};

&mcu_r5fss0_core1 {
	mboxes = <&mailbox0_cluster0>, <&mbox_mcu_r5fss0_core1>;
	memory-region = <&mcu_r5fss0_core1_dma_memory_region>,
			<&mcu_r5fss0_core1_memory_region>;
};

&main_r5fss0_core0 {
	mboxes = <&mailbox0_cluster1>, <&mbox_main_r5fss0_core0>;
	memory-region = <&main_r5fss0_core0_dma_memory_region>,
			<&main_r5fss0_core0_memory_region>;
};

&main_r5fss0_core1 {
	mboxes = <&mailbox0_cluster1>, <&mbox_main_r5fss0_core1>;
	memory-region = <&main_r5fss0_core1_dma_memory_region>,
			<&main_r5fss0_core1_memory_region>;
};

&main_r5fss1_core0 {
	mboxes = <&mailbox0_cluster2>, <&mbox_main_r5fss1_core0>;
	memory-region = <&main_r5fss1_core0_dma_memory_region>,
			<&main_r5fss1_core0_memory_region>;
};

&main_r5fss1_core1 {
	mboxes = <&mailbox0_cluster2>, <&mbox_main_r5fss1_core1>;
	memory-region = <&main_r5fss1_core1_dma_memory_region>,
			<&main_r5fss1_core1_memory_region>;
};

&c66_0 {
	mboxes = <&mailbox0_cluster3>, <&mbox_c66_0>;
	memory-region = <&c66_0_dma_memory_region>,
			<&c66_0_memory_region>;
};

&c66_1 {
	mboxes = <&mailbox0_cluster3>, <&mbox_c66_1>;
	memory-region = <&c66_1_dma_memory_region>,
			<&c66_1_memory_region>;
};

&c71_0 {
	mboxes = <&mailbox0_cluster4>, <&mbox_c71_0>;
	memory-region = <&c71_0_dma_memory_region>,
			<&c71_0_memory_region>;
};
